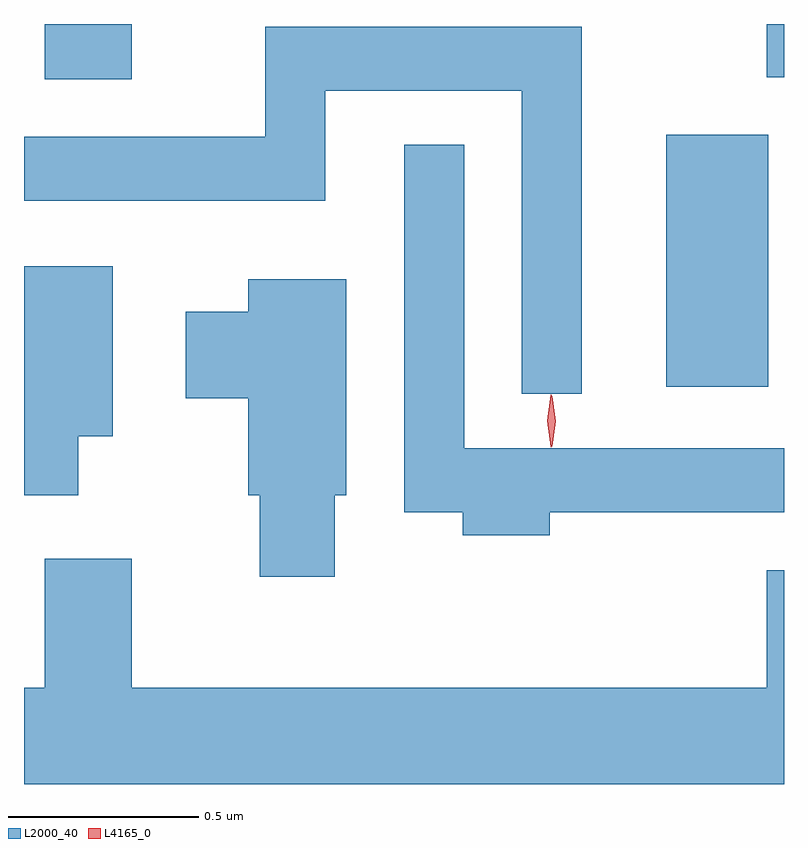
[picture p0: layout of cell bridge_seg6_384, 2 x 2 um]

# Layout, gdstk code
import gdstk
lib = gdstk.Library(unit=1e-6, precision=1e-09)
def R(c, l, rs):  # rectangles x0, y0, x1, y1
    for r in rs: c.add(gdstk.rectangle(r[:2], r[2:], *l))
def P(c, l, *ps):  # polygons
    for p in ps: c.add(gdstk.Polygon(p, *l))
L2000_40 = (2000, 40)
L4165_0 = (4165, 0)

bridge_seg6_384 = lib.new_cell('bridge_seg6_384')
R(bridge_seg6_384, L2000_40, [(1332.286,1544.436,1332.554,1545.099), (1330.651,1545.246,1330.879,1545.391), (1332.551,1545.251,1332.596,1545.391)])
P(bridge_seg6_384, L2000_40, [(1332.064,1545.384),(1331.231,1545.384),(1331.231,1545.094),(1330.596,1545.094),(1330.596,1544.926),(1331.389,1544.926),(1331.389,1545.216),(1331.906,1545.216),(1331.906,1544.418),(1332.064,1544.418)],
  [(1331.979,1544.106),(1332.596,1544.106),(1332.596,1544.274),(1331.754,1544.274),(1331.754,1545.073),(1331.596,1545.073),(1331.596,1544.106),(1331.751,1544.106),(1331.751,1544.046),(1331.979,1544.046)],
  [(1330.739,1544.306),(1330.829,1544.306),(1330.829,1544.754),(1330.596,1544.754),(1330.596,1544.151),(1330.739,1544.151)],
  [(1331.414,1544.151),(1331.444,1544.151),(1331.444,1544.719),(1331.186,1544.719),(1331.186,1544.634),(1331.021,1544.634),(1331.021,1544.406),(1331.186,1544.406),(1331.186,1544.151),(1331.216,1544.151),(1331.216,1543.936),(1331.414,1543.936)],
  [(1332.596,1543.954),(1332.551,1543.954),(1332.551,1543.644),(1330.879,1543.644),(1330.879,1543.984),(1330.651,1543.984),(1330.651,1543.644),(1330.596,1543.644),(1330.596,1543.391),(1332.596,1543.391)])
P(bridge_seg6_384, L4165_0, [(1331.983,1544.277),(1331.982,1544.278),(1331.973,1544.347),(1331.982,1544.416),(1331.983,1544.416),(1331.983,1544.416),(1331.993,1544.347),(1331.983,1544.278)],
  [(1331.985,1544.28),(1331.976,1544.346),(1331.985,1544.412),(1331.985,1544.413),(1331.986,1544.412),(1331.995,1544.346),(1331.986,1544.28),(1331.986,1544.28)])

lib.write_gds('bridge_seg6_384.gds')
